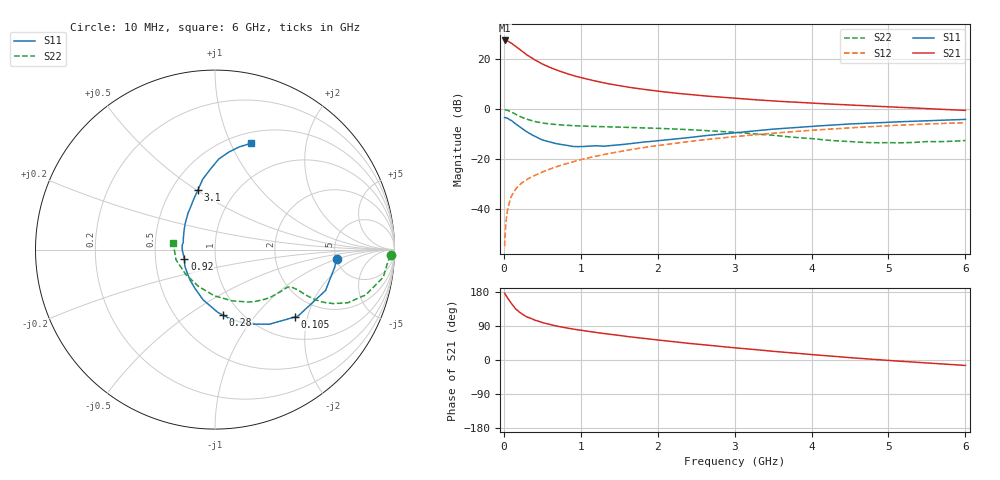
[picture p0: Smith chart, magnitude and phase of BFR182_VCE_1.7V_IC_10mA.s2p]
! Infineon Technologies  Discrete & RF Semiconductors
! BFR182
! VCE =  1.7 V,  IC =  10 mA
! Common Emitter S-Parameters:  Nov 2015
# GHz  S  MA  R  50
!  f  S11  S21  S12  S22
! GHz  MAG  ANG  MAG  ANG  MAG  ANG  MAG  ANG
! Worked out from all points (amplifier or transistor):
!   210 points, 10 MHz to 6 GHz, reference 50 ohm
!   highest |S21| = 27.5 dB at 10 MHz (marker M1)
!   |S21| within 3 dB of that: start of sweep to 181 MHz
!   unconditionally stable (mu >= 1): 745.2 MHz to 2.668 GHz
!   at 185 MHz: K = 0.52, MSG = 27.7 dB, |S12| = -30.9 dB
!   at 1.52 GHz: K = 1.06, MAG = 11.7 dB, |S12| = -16.9 dB
!   at 6 GHz: K = 0.90, MSG = 2.5 dB, |S12| = -5.4 dB
!   S11 on the Smith chart (normalised r, x): 10 MHz: 5.05, -0.95; 105 MHz: 1.48, -1.68; 280 MHz: 0.83, -0.70; 920 MHz: 0.71, -0.07; 3.1 GHz: 0.67, +0.51; 6 GHz: 0.62, +1.19
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0.01  0.6792 -4.3  23.8 176.5  0.0018 91.0  0.979 -1.9
0.02  0.6744 -8.3  23.6 172.8  0.0038 84.3  0.9669 -3.8
0.05  0.6567 -20.3  23.2 163.0  0.0098 81.3  0.9499 -9.3
0.1  0.5926 -38.7  20.94 148.4  0.0182 74.3  0.8774 -16.7
0.105  0.5831 -40.0  20.64 147.3  0.0188 73.6  0.8691 -17.2
0.15  0.5145 -53.9  18.36 135.6  0.0246 69.0  0.7976 -21.8
0.2  0.4524 -66.5  16.01 126.6  0.0301 66.7  0.7254 -24.5
0.24  0.4066 -75.0  14.28 121.0  0.0339 65.5  0.6806 -25.7
0.28  0.3679 -83.0  12.86 116.2  0.0374 65.4  0.644 -26.3
0.3  0.3509 -87.3  12.21 113.7  0.039 65.4  0.6271 -26.5
0.4  0.2874 -103.4  9.785 105.4  0.0469 65.6  0.5656 -26.6
0.5  0.2426 -117.6  8.025 98.6  0.0549 66.5  0.5273 -26.1
0.6  0.22 -128.9  6.858 93.5  0.0632 67.0  0.5047 -26.0
0.7  0.2014 -140.6  5.971 89.0  0.0716 67.5  0.4885 -26.0
0.92  0.1782 -163.3  4.63 80.9  0.0905 67.7  0.466 -26.5
1.02  0.1783 -171.9  4.215 77.9  0.0989 67.9  0.4589 -27.1
1.4  0.1878 159.8  3.139 67.4  0.132 67.0  0.4411 -30.8
2.02  0.2348 132.4  2.277 52.4  0.1885 62.9  0.4125 -39.1
3.1  0.3471 105.8  1.611 30.5  0.2911 52.9  0.3344 -60.4
4.1  0.4625 91.7  1.3 12.7  0.3864 41.7  0.248 -94.8
5.1  0.5555 80.9  1.099 -2.5  0.4743 29.2  0.2122 -144.8
6  0.6242 71.4  0.946 -14.4  0.5356 16.7  0.2356 171.0
